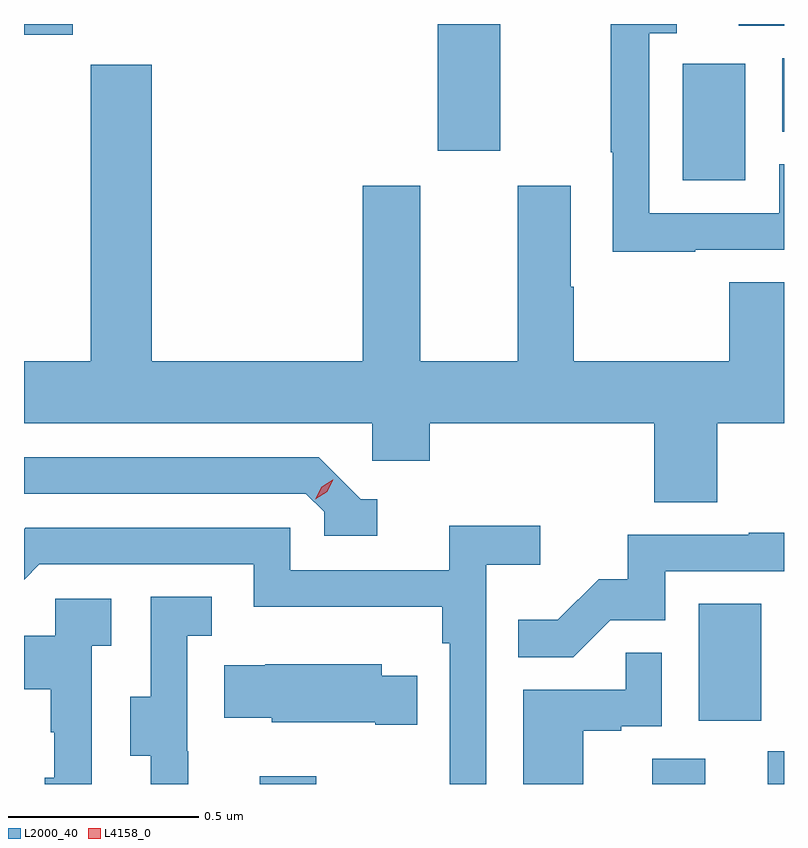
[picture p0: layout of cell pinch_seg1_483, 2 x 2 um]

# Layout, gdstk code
import gdstk
lib = gdstk.Library(unit=1e-6, precision=1e-09)
def R(c, l, rs):  # rectangles x0, y0, x1, y1
    for r in rs: c.add(gdstk.rectangle(r[:2], r[2:], *l))
def P(c, l, *ps):  # polygons
    for p in ps: c.add(gdstk.Polygon(p, *l))
L2000_40 = (2000, 40)
L4158_0 = (4158, 0)

pinch_seg1_483 = lib.new_cell('pinch_seg1_483')
R(pinch_seg1_483, L2000_40, [(1085.063,524.143,1085.211,524.164), (1086.095,524.143,1086.235,524.21), (1086.399,524.143,1086.442,524.229), (1086.218,524.31,1086.382,524.617), (1086.176,525.732,1086.34,526.039), (1085.531,525.81,1085.695,526.143), (1086.438,525.859,1086.442,526.053), (1084.442,526.115,1084.57,526.143), (1086.323,526.138,1086.442,526.143)])
P(pinch_seg1_483, L2000_40, [(1086.209,525.549),(1086.442,525.549),(1086.442,525.774),(1086.429,525.774),(1086.429,525.645),(1086.087,525.645),(1086.087,526.119),(1086.16,526.119),(1086.16,526.143),(1085.986,526.143),(1085.986,525.805),(1085.991,525.805),(1085.991,525.544),(1086.209,525.544)],
  [(1086.266,525.092),(1086.442,525.092),(1086.442,525.464),(1086.298,525.464),(1086.298,525.256),(1085.889,525.256),(1085.889,525.452),(1085.881,525.452),(1085.881,525.718),(1085.741,525.718),(1085.741,525.256),(1085.485,525.256),(1085.485,525.718),(1085.333,525.718),(1085.333,525.256),(1084.778,525.256),(1084.778,526.036),(1084.618,526.036),(1084.618,525.256),(1084.442,525.256),(1084.442,525.092),(1085.358,525.092),(1085.358,524.994),(1085.51,524.994),(1085.51,525.092),(1086.101,525.092),(1086.101,524.884),(1086.266,524.884)],
  [(1085.371,524.892),(1085.328,524.892),(1085.217,525.003),(1084.442,525.003),(1084.442,524.907),(1085.184,524.907),(1085.232,524.859),(1085.232,524.796),(1085.371,524.796)],
  [(1085.658,524.72),(1085.8,524.72),(1085.8,524.822),(1085.561,524.822),(1085.561,524.706),(1085.142,524.706),(1085.142,524.817),(1084.445,524.817),(1084.442,524.814),(1084.442,524.681),(1084.482,524.721),(1085.046,524.721),(1085.046,524.609),(1085.542,524.609),(1085.542,524.513),(1085.562,524.513),(1085.562,524.143),(1085.658,524.143)],
  [(1085.985,524.574),(1086.129,524.574),(1086.129,524.703),(1086.442,524.703),(1086.442,524.804),(1086.349,524.804),(1086.349,524.799),(1086.031,524.799),(1086.031,524.682),(1085.954,524.682),(1085.847,524.575),(1085.743,524.575),(1085.743,524.476),(1085.887,524.476)],
  [(1084.874,524.229),(1084.872,524.229),(1084.872,524.533),(1084.936,524.533),(1084.936,524.636),(1084.776,524.636),(1084.776,524.373),(1084.721,524.373),(1084.721,524.218),(1084.775,524.218),(1084.775,524.143),(1084.874,524.143)],
  [(1084.62,524.507),(1084.672,524.507),(1084.672,524.631),(1084.524,524.631),(1084.524,524.533),(1084.442,524.533),(1084.442,524.393),(1084.512,524.393),(1084.512,524.279),(1084.522,524.279),(1084.522,524.16),(1084.496,524.16),(1084.496,524.143),(1084.62,524.143)],
  [(1085.914,524.283),(1086.014,524.283),(1086.014,524.295),(1086.12,524.295),(1086.12,524.489),(1086.025,524.489),(1086.025,524.391),(1085.756,524.391),(1085.756,524.143),(1085.914,524.143)],
  [(1085.477,524.428),(1085.383,524.428),(1085.383,524.458),(1085.077,524.458),(1085.077,524.455),(1084.969,524.455),(1084.969,524.318),(1085.094,524.318),(1085.094,524.306),(1085.366,524.306),(1085.366,524.299),(1085.477,524.299)])
P(pinch_seg1_483, L4158_0, [(1085.208,524.893),(1085.208,524.893),(1085.225,524.925),(1085.255,524.944),(1085.256,524.944),(1085.256,524.944),(1085.24,524.912),(1085.209,524.893)])

lib.write_gds('pinch_seg1_483.gds')
